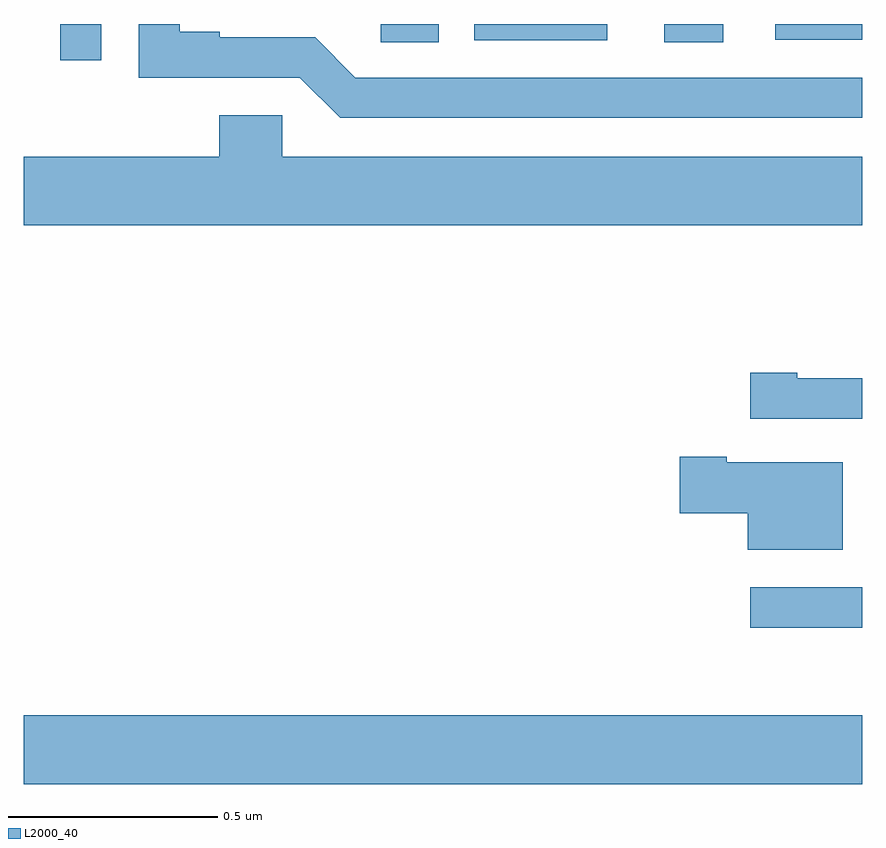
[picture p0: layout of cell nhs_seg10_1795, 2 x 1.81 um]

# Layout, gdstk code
import gdstk
lib = gdstk.Library(unit=1e-6, precision=1e-09)
def R(c, l, rs):  # rectangles x0, y0, x1, y1
    for r in rs: c.add(gdstk.rectangle(r[:2], r[2:], *l))
def P(c, l, *ps):  # polygons
    for p in ps: c.add(gdstk.Polygon(p, *l))
L2000_40 = (2000, 40)

nhs_seg10_1795 = lib.new_cell('nhs_seg10_1795')
R(nhs_seg10_1795, L2000_40, [(133,1261.688,135,1261.852), (134.733,1262.061,135,1262.157), (133.088,1263.414,133.185,1263.5), (133.851,1263.457,133.99,1263.5), (134.528,1263.457,134.668,1263.5), (134.075,1263.461,134.392,1263.5), (134.792,1263.462,135,1263.5)])
P(nhs_seg10_1795, L2000_40, [(135,1263.372),(133.791,1263.372),(133.695,1263.468),(133.468,1263.468),(133.468,1263.481),(133.372,1263.481),(133.372,1263.5),(133.275,1263.5),(133.275,1263.372),(133.659,1263.372),(133.755,1263.276),(135,1263.276)],
  [(135,1263.184),(133.617,1263.184),(133.617,1263.282),(133.466,1263.282),(133.466,1263.184),(133,1263.184),(133,1263.02),(135,1263.02)],
  [(135,1262.655),(134.845,1262.655),(134.845,1262.668),(134.733,1262.668),(134.733,1262.559),(135,1262.559)],
  [(134.953,1262.455),(134.677,1262.455),(134.677,1262.468),(134.565,1262.468),(134.565,1262.333),(134.726,1262.333),(134.726,1262.246),(134.953,1262.246)])

lib.write_gds('nhs_seg10_1795.gds')
